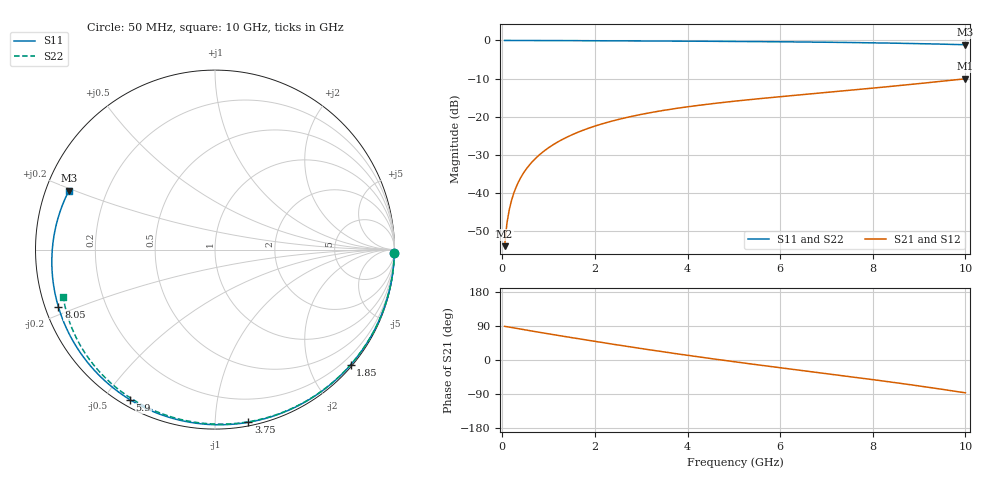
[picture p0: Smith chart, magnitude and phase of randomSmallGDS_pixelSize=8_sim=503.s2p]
! freq	dB(S11)	phase(S11)	dB(S12)	phase(S12)
!  dB(S21)	phase(S21)	dB(S22)	phase(S22)
!S-par simulation data
#  GHz  S  DB  R 50
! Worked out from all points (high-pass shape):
!   200 points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, 50 MHz to 10 GHz, reference 50 ohm
!   highest |S21| = -10.07 dB at 10 GHz (marker M1); lowest = -54.0 dB at 50 MHz (marker M2)
!   |S21| within 3 dB of the highest: 7.527 GHz to end of sweep
!   lowest |S11| = -1.1 dB at 10 GHz (marker M3), VSWR 15.34, Z = 3.38 + j9.68 ohm
!   |S11| at or under -10 dB: nowhere
!   |S22| runs from -1.0 to 0.0 dB; largest |S21 - S12| = 0
!   S11 on the Smith chart (normalised r, x): 50 MHz: open; 1.85 GHz: 0.03, -2.72; 3.75 GHz: 0.03, -1.21; 5.9 GHz: 0.03, -0.58; 8.05 GHz: 0.04, -0.18; 10 GHz: 0.07, +0.19
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0.05  -0.01 -1.1  -54.00 88.9  -54.00 88.9  -0.01 -1.0
0.1  -0.01 -2.2  -47.98 87.8  -47.98 87.8  -0.01 -1.9
0.15  -0.01 -3.3  -44.46 86.8  -44.46 86.8  -0.01 -2.9
0.2  -0.01 -4.4  -41.97 85.7  -41.97 85.7  -0.01 -3.9
0.35  -0.01 -7.8  -37.12 82.5  -37.12 82.5  -0.01 -6.7
0.5  -0.02 -11.1  -34.05 79.3  -34.05 79.3  -0.01 -9.6
0.7  -0.02 -15.5  -31.17 75.2  -31.17 75.2  -0.02 -13.5
1  -0.03 -22.1  -28.16 69.0  -28.16 69.0  -0.03 -19.2
1.75  -0.07 -38.2  -23.54 54.1  -23.54 54.1  -0.06 -33.2
1.85  -0.07 -40.4  -23.10 52.1  -23.10 52.1  -0.07 -35.1
2.65  -0.11 -57.0  -20.32 36.7  -20.32 36.7  -0.10 -49.5
3.4  -0.15 -72.2  -18.53 22.9  -18.53 22.9  -0.14 -62.6
3.75  -0.18 -79.0  -17.86 16.7  -17.86 16.7  -0.16 -68.6
4.4  -0.22 -91.6  -16.79 5.5  -16.79 5.5  -0.20 -79.4
5.05  -0.27 -103.8  -15.90 -5.2  -15.90 -5.2  -0.25 -89.8
5.9  -0.34 -119.5  -14.88 -18.9  -14.88 -18.9  -0.31 -102.9
6.7  -0.43 -134.2  -13.99 -31.3  -13.99 -31.3  -0.39 -114.8
7.4  -0.53 -147.3  -13.21 -42.3  -13.21 -42.3  -0.48 -125.0
8.05  -0.64 -159.8  -12.47 -52.6  -12.47 -52.6  -0.58 -134.4
8.35  -0.70 -165.8  -12.11 -57.5  -12.11 -57.5  -0.63 -138.7
9.2  -0.90 176.4  -11.08 -72.0  -11.08 -72.0  -0.82 -150.9
10  -1.13 158.0  -10.07 -86.7  -10.07 -86.7  -1.05 -162.5
